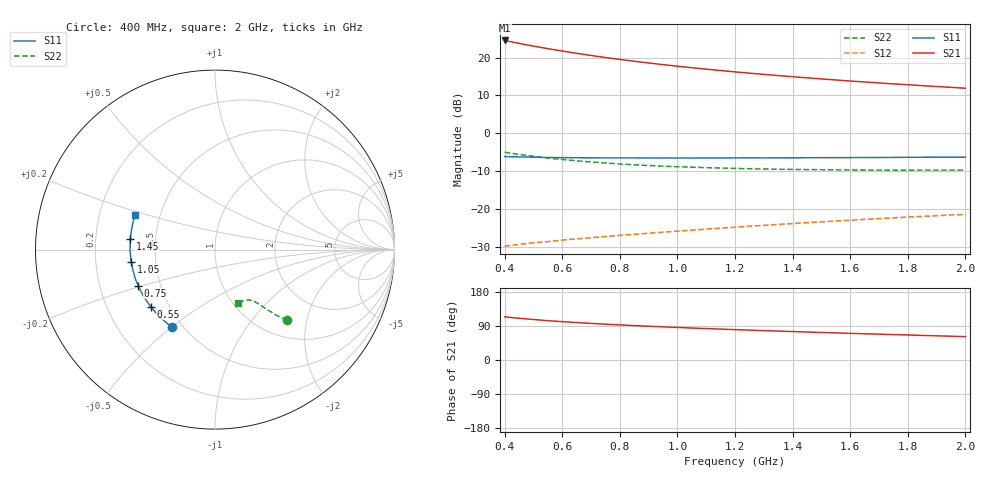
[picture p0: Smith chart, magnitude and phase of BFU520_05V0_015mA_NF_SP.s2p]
! Filename:  P:\Prog\Test\Noise\ATS_data\Testdata_Net\06 Compressed Noise after Statistics\BFU520_APG2013_37_A05_05p0V_015mA_NF_CM01_D.sf
! Date/Time: Fri 26/Apr/2013 14:13:11
! BFU520_APG2013_37_A05_05p0V_1to20mA_NF_CM01_Bias7_R.sf
! Noise Parameter Data File
! BFU520_APG2013_37_A05_05p0V_1to20mA_NF_CM01
! Date/time: Tue Apr 23 16:46:24 2013
! VAR V_out= 5.000000
! VAR I_out= 15.000000
! VAR V_in= 0.843500
! VAR I_in= 0.173700
! Device data file deembeded for feedlines and parallel
! Original file: \06 Compressed Noise after Statistics\BFU520_APG2013_37_A05_05p0V_015mA_NF_CM01_R.sf
! Feed-files: PR047V01_250413_Feed1.s2p, PR047V01_250413_Feed2.s2p
! Parallel-file: PR047V01_250413_Par.s2p
# MHz S MA R 50
!  Freq-MHz  S11-mag  S11-arg  S21-mag  S21-arg  S12-mag  S12-arg  S22-mag  S22-arg
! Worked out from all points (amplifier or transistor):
!   37 points, 400 MHz to 2 GHz, reference 50 ohm
!   highest |S21| = 24.5 dB at 400 MHz (marker M1)
!   |S21| within 3 dB of that: start of sweep to 617.2 MHz
!   unconditionally stable (mu >= 1): 1.477 GHz to end of sweep
!   at 500 MHz: K = 0.60, MSG = 26.0 dB, |S12| = -28.9 dB
!   at 1.1 GHz: K = 0.92, MSG = 21.1 dB, |S12| = -25.3 dB
!   at 2 GHz: K = 1.06, MAG = 15.2 dB, |S12| = -21.4 dB
!   lowest NFmin = 1.01 dB at 440 MHz
!   S11 on the Smith chart (normalised r, x): 400 MHz: 0.44, -0.50; 550 MHz: 0.40, -0.33; 750 MHz: 0.37, -0.19; 1.05 GHz: 0.36, -0.06; 1.45 GHz: 0.36, +0.06; 2 GHz: 0.36, +0.18
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400  0.4922 -119.2  16.81 113.9  0.03227 53.0  0.5606 -44.3
433  0.4882 -124.0  15.84 111.4  0.03348 52.5  0.5368 -45.4
460  0.4858 -127.7  15.12 109.5  0.03441 52.2  0.5202 -46.2
500  0.4828 -132.6  14.15 106.9  0.03571 52.0  0.4964 -47.1
550  0.4783 -138.3  13.1 103.8  0.03705 52.0  0.4695 -47.9
600  0.4763 -143.0  12.19 101.2  0.03874 52.1  0.4503 -48.7
650  0.4753 -147.3  11.37 98.8  0.04026 52.2  0.4325 -49.5
700  0.4737 -151.0  10.65 96.6  0.04171 52.5  0.4174 -49.9
750  0.4727 -154.8  10.01 94.5  0.04322 52.9  0.4047 -50.5
800  0.4727 -157.9  9.441 92.7  0.04477 53.2  0.3931 -51.1
850  0.4724 -161.0  8.935 90.9  0.04626 53.6  0.3832 -51.4
900  0.4709 -164.1  8.473 89.1  0.04779 54.0  0.3751 -52.1
950  0.4718 -166.6  8.063 87.5  0.04934 54.4  0.3674 -52.5
1050  0.4713 -171.7  7.34 84.3  0.05253 55.1  0.3562 -53.6
1150  0.4717 -175.9  6.732 81.5  0.05578 55.8  0.347 -54.5
1200  0.4725 -178.1  6.465 80.1  0.05738 56.0  0.3433 -55.2
1300  0.4726 178.1  5.99 77.6  0.06075 56.6  0.3375 -56.3
1450  0.475 172.6  5.394 73.8  0.0659 57.1  0.3314 -58.3
1500  0.4765 171.2  5.219 72.7  0.06758 57.3  0.3299 -58.9
1600  0.4769 167.8  4.896 70.3  0.07097 57.5  0.3276 -60.4
1750  0.4798 163.3  4.486 67.1  0.07625 57.7  0.325 -62.6
2000  0.4831 156.8  3.93 61.7  0.08483 57.8  0.3261 -66.7
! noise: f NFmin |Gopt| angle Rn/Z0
400  1.104  0.1231  -172.8  0.1094
460  1.03  0.1714  -171.5  0.0905
600  1.095  0.1517  -171.5  0.0995
800  1.097  0.1847  -171.2  0.0884
1000  1.114  0.1995  -170.8  0.0859
1200  1.144  0.2095  -166  0.0876
1400  1.164  0.2404  -160  0.0789
1600  1.195  0.2372  -157.9  0.09
1800  1.15  0.2594  -160.1  0.085
2000  1.248  0.2551  -154.5  0.0962
